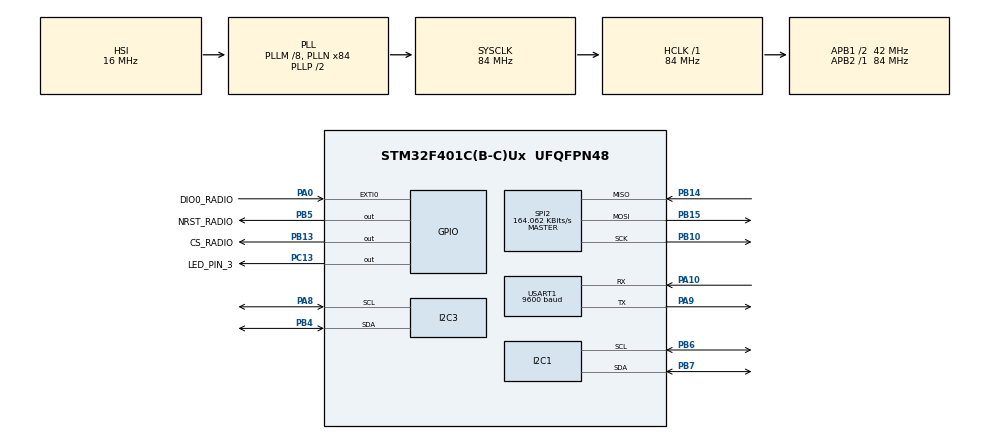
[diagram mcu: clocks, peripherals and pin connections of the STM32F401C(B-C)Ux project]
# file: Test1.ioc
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Mcu.Family=STM32F4
Mcu.Name=STM32F401C(B-C)Ux
Mcu.Package=UFQFPN48
NVIC.PriorityGroup=NVIC_PRIORITYGROUP_4
PA0-WKUP.GPIO_Label=DIO0_RADIO
PA0-WKUP.Signal=GPXTI0
PA10.Mode=Asynchronous
PA10.Signal=USART1_RX
PA8.Mode=I2C
PA8.Signal=I2C3_SCL
PA9.Mode=Asynchronous
PA9.Signal=USART1_TX
PB10.Mode=Full_Duplex_Master
PB10.Signal=SPI2_SCK
PB13.GPIO_Label=CS_RADIO
PB13.GPIO_PuPd=GPIO_PULLUP
PB13.Signal=GPIO_Output
PB14.Mode=Full_Duplex_Master
PB14.Signal=SPI2_MISO
PB15.Mode=Full_Duplex_Master
PB15.Signal=SPI2_MOSI
PB4.Mode=I2C
PB4.Signal=I2C3_SDA
PB5.GPIO_Label=NRST_RADIO
PB5.Signal=GPIO_Output
PB6.Mode=I2C
PB6.Signal=I2C1_SCL
PB7.Mode=I2C
PB7.Signal=I2C1_SDA
PC13-ANTI_TAMP.GPIO_Label=LED_PIN_3
PC13-ANTI_TAMP.Signal=GPIO_Output
PH0\ -\ OSC_IN.Mode=HSE-External-Oscillator
PH0\ -\ OSC_IN.Signal=RCC_OSC_IN
PH1\ -\ OSC_OUT.Mode=HSE-External-Oscillator
PH1\ -\ OSC_OUT.Signal=RCC_OSC_OUT
ProjectManager.HeapSize=0x400
ProjectManager.StackSize=0x800
ProjectManager.TargetToolchain=STM32CubeIDE
RCC.48MHZClocksFreq_Value=42000000
RCC.AHBFreq_Value=84000000
RCC.APB1CLKDivider=RCC_HCLK_DIV2
RCC.APB1Freq_Value=42000000
RCC.APB1TimFreq_Value=84000000
RCC.APB2Freq_Value=84000000
RCC.APB2TimFreq_Value=84000000
RCC.CortexFreq_Value=84000000
RCC.HCLKFreq_Value=84000000
RCC.HSE_VALUE=25000000
RCC.HSI_VALUE=16000000
RCC.LSE_VALUE=32768
RCC.PLLM=8
RCC.PLLN=84
RCC.SYSCLKFreq_VALUE=84000000
RCC.SYSCLKSource=RCC_SYSCLKSOURCE_PLLCLK
RCC.VCOOutputFreq_Value=168000000
SPI2.BaudRatePrescaler=SPI_BAUDRATEPRESCALER_256
SPI2.CalculateBaudRate=164.062 KBits/s
SPI2.Direction=SPI_DIRECTION_2LINES
SPI2.Mode=SPI_MODE_MASTER
SPI2.VirtualType=VM_MASTER
USART1.BaudRate=9600
USART1.VirtualMode=VM_ASYNC
board=custom

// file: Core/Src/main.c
/* USER CODE BEGIN Header */
/**
  ******************************************************************************
  * @file           : main.c
  * @brief          : Main program body
  ******************************************************************************
  * @attention
  *
  * Copyright (c) 2026 STMicroelectronics.
  * All rights reserved.
  *
  * This software is licensed under terms that can be found in the LICENSE file
  * in the root directory of this software component.
  * If no LICENSE file comes with this software, it is provided AS-IS.
  *
  ******************************************************************************
  */
/* USER CODE END Header */
#include "main.h"
#include "i2c.h"
#include "spi.h"
#include "usart.h"
#include "gpio.h"

/* USER CODE BEGIN Includes */
#include "serial_print.h"
#include "lis3mdl.h"
#include "bmp388.h"
#include "mpu6050.h"
#include "hmc5883l.h"
#include "lora278.h"
#include "motor_control.h"
#include "pca9685.h"
#include <stdio.h>
#include <stdlib.h>
/* USER CODE END Includes */

/* USER CODE BEGIN PV */
volatile bool _packetReady = false;
volatile int _pendingLength = 0;
Motor_HandleTypeDef motorA, motorB, motorC, motorD, motorE, motorF;
HMC5883L_Data_t mag_data;
/* USER CODE END PV */

void SystemClock_Config(void);

/* USER CODE BEGIN 0 */
void OnLoRaPacketReceived(int packetSize) {
    _pendingLength = packetSize;
    _packetReady = true;
}

// Non-blocking motor stop logic
uint32_t motor_stop_time = 0;
bool motor_active = false;

void stop_motors() {
    Motor_SetSpeed(&motorB, 0);
    Motor_SetSpeed(&motorD, 0);
    Motor_SetSpeed(&motorA, 0);
    Motor_SetSpeed(&motorC, 0);
    motor_active = false;
}

void move(int m_left, int m_right, int m_mid, int duration) {
    // motorB - правая сторона, motorD - левая сторона, как в LoRa278
    Motor_SetSpeed(&motorB, m_right);
    Motor_SetSpeed(&motorD, m_left);
    Motor_SetSpeed(&motorA, m_mid);
    Motor_SetSpeed(&motorC, m_mid);

    if (duration > 0) {
        motor_stop_time = HAL_GetTick() + duration;
        motor_active = true;
    } else {
        motor_active = false;
    }
}
/* USER CODE END 0 */

int main(void)
{

  /* MCU Configuration--------------------------------------------------------*/

  /* Reset of all peripherals, Initializes the Flash interface and the Systick. */
  HAL_Init();

  /* Configure the system clock */
  SystemClock_Config();

  /* Initialize all configured peripherals */
  MX_GPIO_Init();
  MX_USART1_UART_Init();
  MX_SPI2_Init();
  MX_I2C1_Init();
  MX_I2C3_Init();
  /* USER CODE BEGIN 2 */
  Serial_Printf(&huart1, "\r\n--- STM32 Test1 INIT ---\r\n");

  // Init Motors via PCA9685
  PCA9685_Init(1000);
  Motor_Init(&motorD, 0, 1);
  Motor_Init(&motorC, 2, 3);
  Motor_Init(&motorB, 4, 5);
  Motor_Init(&motorA, 6, 7);
  Motor_Init(&motorF, 11, 12);
  Motor_Init(&motorE, 13, 14);

  // Init LoRa
  if (!LoRa_Begin(433000000)) {
	  Serial_Printf(&huart1, "LoRa init failed!\r\n");
  } else {
      LoRa_SetSpreadingFactor(7);
      LoRa_SetSignalBandwidth(125000);
      LoRa_SetCodingRate4(5);
      LoRa_EnableCrc();
      LoRa_SetSyncWord(0x12);
      LoRa_SetTxPower(17, 1);

      LoRa_OnReceive(OnLoRaPacketReceived);
      LoRa_Receive(0);
      Serial_Printf(&huart1, "LoRa Ready!\r\n");
  }

  if (MPU6050_Init(&hi2c1) != HAL_OK) {
      if (MPU6050_Init(&hi2c3) != HAL_OK) {
          Serial_Printf(&huart1, "MPU6050 init failed!\r\n");
      }
  }

  if (HMC5883L_Init(&hi2c1) != HAL_OK) {
       if (HMC5883L_Init(&hi2c3) != HAL_OK) {
           Serial_Printf(&huart1, "HMC5883L init failed!\r\n");
       }
  }

  uint32_t last_telemetry_tick = HAL_GetTick();
  /* USER CODE END 2 */

  /* Infinite loop */
  /* USER CODE BEGIN WHILE */
  char uart_buf[128];
  char command[50];
  MPU6050_Raw_t raw;
  MPU6050_Physical_t phys;

  while (1)
  {
      if (_packetReady) {
          _packetReady = false;
          int i = 0;

          while (LoRa_Available() && i < sizeof(command) - 1) {
              char c = (char)LoRa_Read();
              command[i] = c;
              i++;
          }
          command[i] = '\0';

          Serial_Printf(&huart1, "RX CMD: %s\r\n", command);

          char direction[20];
          int speed = 0;
          int duration = 0;

          if (sscanf(command, "%19s %d %d", direction, &speed, &duration) == 3) {
              if (speed > 100) speed = 100;
              if (speed < -100) speed = -100;
              if (duration > 5000) duration = 5000;
              if (duration < 0) duration = 0;

              if (strcmp(direction, "right") == 0) {
                  move(0, speed, 0, duration);
              }
              else if (strcmp(direction, "left") == 0) {
                  move(speed, 0, 0, duration);
              }
              else if (strcmp(direction, "forward") == 0) {
                  move(speed, speed, speed, duration);
              }
              else if (strcmp(direction, "backward") == 0) {
                  move(-speed, -speed, -speed, duration);
              }
              else if (strcmp(direction, "stop") == 0) {
                  move(0, 0, 0, 0);
              }
          }
      }

      // Non-blocking motor stop check
      if (motor_active && HAL_GetTick() >= motor_stop_time) {
          stop_motors();
      }

      if (HAL_GetTick() - last_telemetry_tick >= 100) {
          last_telemetry_tick = HAL_GetTick();

          float accel_x = 0, accel_y = 0, accel_z = 0;
          float mag_x = 0, mag_y = 0, mag_z = 0;

          if (MPU6050_ReadRaw(&hi2c1, &raw) == HAL_OK || MPU6050_ReadRaw(&hi2c3, &raw) == HAL_OK) {
              MPU6050_ToPhysical(&raw, &phys);
              accel_x = phys.Accel_X;
              accel_y = phys.Accel_Y;
              accel_z = phys.Accel_Z;
          }

          if (HMC5883L_ReadData(&hi2c1, &mag_data) == HAL_OK || HMC5883L_ReadData(&hi2c3, &mag_data) == HAL_OK) {
              mag_x = mag_data.x * 0.92f;
              mag_y = mag_data.y * 0.92f;
              mag_z = mag_data.z * 0.92f;
          }

          // Avoid float printf due to GCC default config on STM32
          int ax = (int)(accel_x * 100), ay = (int)(accel_y * 100), az = (int)(accel_z * 100);
          int mx = (int)(mag_x * 100), my = (int)(mag_y * 100), mz = (int)(mag_z * 100);
          sprintf(uart_buf, "ACC:%d.%02d,%d.%02d,%d.%02d MAG:%d.%02d,%d.%02d,%d.%02d",
                   ax/100, abs(ax)%100, ay/100, abs(ay)%100, az/100, abs(az)%100,
                   mx/100, abs(mx)%100, my/100, abs(my)%100, mz/100, abs(mz)%100);

          // Send via LoRa
          LoRa_BeginPacket(0); // 0 = explicit header
          LoRa_Write((uint8_t*)uart_buf, strlen(uart_buf));
          LoRa_EndPacket(0);   // wait for tx

          // switch back to receive mode
          LoRa_Receive(0);
      }

    /* USER CODE END WHILE */

  }
}

void SystemClock_Config(void)
{
  RCC_OscInitTypeDef RCC_OscInitStruct = {0};
  RCC_ClkInitTypeDef RCC_ClkInitStruct = {0};

  /** Configure the main internal regulator output voltage
  */
  __HAL_RCC_PWR_CLK_ENABLE();
  __HAL_PWR_VOLTAGESCALING_CONFIG(PWR_REGULATOR_VOLTAGE_SCALE2);

  /** Initializes the RCC Oscillators according to the specified parameters
  * in the RCC_OscInitTypeDef structure.
  */
  RCC_OscInitStruct.OscillatorType = RCC_OSCILLATORTYPE_HSI;
  RCC_OscInitStruct.HSIState = RCC_HSI_ON;
  RCC_OscInitStruct.HSICalibrationValue = RCC_HSICALIBRATION_DEFAULT;
  RCC_OscInitStruct.PLL.PLLState = RCC_PLL_ON;
  RCC_OscInitStruct.PLL.PLLSource = RCC_PLLSOURCE_HSI;
  RCC_OscInitStruct.PLL.PLLM = 8;
  RCC_OscInitStruct.PLL.PLLN = 84;
  RCC_OscInitStruct.PLL.PLLP = RCC_PLLP_DIV2;
  RCC_OscInitStruct.PLL.PLLQ = 4;
  if (HAL_RCC_OscConfig(&RCC_OscInitStruct) != HAL_OK)
  {
    Error_Handler();
  }

  /** Initializes the CPU, AHB and APB buses clocks
  */
  RCC_ClkInitStruct.ClockType = RCC_CLOCKTYPE_HCLK|RCC_CLOCKTYPE_SYSCLK
                              |RCC_CLOCKTYPE_PCLK1|RCC_CLOCKTYPE_PCLK2;
  RCC_ClkInitStruct.SYSCLKSource = RCC_SYSCLKSOURCE_PLLCLK;
  RCC_ClkInitStruct.AHBCLKDivider = RCC_SYSCLK_DIV1;
  RCC_ClkInitStruct.APB1CLKDivider = RCC_HCLK_DIV2;
  RCC_ClkInitStruct.APB2CLKDivider = RCC_HCLK_DIV1;

  if (HAL_RCC_ClockConfig(&RCC_ClkInitStruct, FLASH_LATENCY_2) != HAL_OK)
  {
    Error_Handler();
  }
}

/* USER CODE BEGIN 4 */
void HAL_GPIO_EXTI_Callback(uint16_t GPIO_Pin) {
    if (GPIO_Pin == DIO0_RADIO_Pin) {
        LoRa_HandleDio0Rise();
    }
}
/* USER CODE END 4 */

void Error_Handler(void)
{
  __disable_irq();
  while (1)
  {
  }
}
